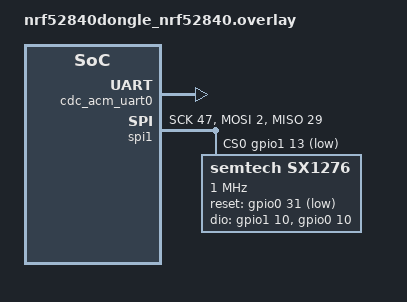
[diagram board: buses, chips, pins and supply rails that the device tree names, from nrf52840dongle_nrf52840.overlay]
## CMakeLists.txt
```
cmake_minimum_required(VERSION 3.8.2)

#Board selection inside zephyr
#set(BOARD nrf52840dk_nrf52840)
#set(BOARD nrf5340pdk_nrf5340_cpunet)
#set(BOARD nrf5340pdk_nrf5340_cpuapp)
set(BOARD nrf52840dongle_nrf52840)
#set(BOARD nrf52840dk_nrf52811)
#Board selection outside zephyr
#set(BOARD_ROOT ./board)

#Toolchain selection
#set(TOOLCHAIN C:/gnuarmemb)

#Zephyr selection
#set(ZEPHYR_BASE L:/Github/ncs/zephyr)
#set(ZEPHYR_BASE C:/Users/raffa/Github/ncs-workspace-1.6.1/zephyr)

find_package(Zephyr REQUIRED HINTS $ENV{ZEPHYR_BASE})

project(NONE)

target_sources(app PRIVATE src/main.c)
```

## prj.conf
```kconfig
#Stdout config
CONFIG_SERIAL=y
CONFIG_STDOUT_CONSOLE=y

#USB CDC ACM
CONFIG_SERIAL=y
CONFIG_CONSOLE=y
CONFIG_UART_CONSOLE=y
CONFIG_STDOUT_CONSOLE=y
CONFIG_USB_DEVICE_STACK=y
CONFIG_USB_DEVICE_PRODUCT="LoRa BT-Mesh Gateway"

#Lora
CONFIG_LOG=y
CONFIG_SPI=y
CONFIG_GPIO=y
CONFIG_LORA=y
CONFIG_LORA_SX12XX=y
CONFIG_PRINTK=y

#For nRF52 Dongle if flashed over USB
#CONFIG_BOARD_HAS_NRF5_BOOTLOADER=y
#For nRF52 Dongle if flashed over SWD
#CONFIG_BOARD_HAS_NRF5_BOOTLOADER=n

#For Reset
CONFIG_REBOOT=y

#FOR GPIO
CONFIG_GPIO=y

# Bluetooth Mesh

# General configuration
CONFIG_MAIN_STACK_SIZE=4096
CONFIG_SYSTEM_WORKQUEUE_STACK_SIZE=4096
CONFIG_FLASH=y
CONFIG_FLASH_MAP=y
CONFIG_NVS=y
CONFIG_SETTINGS=y
CONFIG_HWINFO=y

# Bluetooth configuration
CONFIG_BT=y
CONFIG_BT_COMPANY_ID=0x0059
CONFIG_BT_DEVICE_NAME="LoRa BT-Mesh Gateway"
CONFIG_BT_L2CAP_TX_BUF_COUNT=32
CONFIG_BT_OBSERVER=y
CONFIG_BT_PERIPHERAL=y
CONFIG_BT_SETTINGS=y

# Disable unused Bluetooth features
CONFIG_BT_CTLR_DUP_FILTER_LEN=0
CONFIG_BT_CTLR_LE_ENC=n
CONFIG_BT_DATA_LEN_UPDATE=n
CONFIG_BT_PHY_UPDATE=n
CONFIG_BT_CTLR_CHAN_SEL_2=n
CONFIG_BT_CTLR_MIN_USED_CHAN=n
CONFIG_BT_CTLR_PRIVACY=n

# Bluetooth mesh configuration
CONFIG_BT_MESH=y
CONFIG_BT_MESH_RELAY=y
CONFIG_BT_MESH_FRIEND=y
CONFIG_BT_MESH_BEACON_ENABLED=y
CONFIG_BT_MESH_LOW_POWER=n
#CONFIG_BT_DEBUG_LOG=y
#CONFIG_BT_MESH_DEBUG=y
#CONFIG_BT_MESH_DEBUG_LOW_POWER=y
CONFIG_BT_MESH_LPN_AUTO=n
CONFIG_BT_MESH_LPN_AUTO_TIMEOUT=5
#600 = 60s
CONFIG_BT_MESH_LPN_POLL_TIMEOUT=3600
CONFIG_BT_MESH_GATT_PROXY=y
CONFIG_BT_MESH_ADV_BUF_COUNT=64
CONFIG_BT_MESH_TX_SEG_MAX=32
CONFIG_BT_MESH_PB_GATT=y

# More Proxy Clients
CONFIG_BT_MAX_CONN=3

# Bluetooth Mesh models
CONFIG_BT_MESH_SENSOR_SRV=y
```

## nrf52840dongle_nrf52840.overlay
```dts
#include <dt-bindings/gpio/gpio.h>

/ {
	chosen {
		zephyr,console = &cdc_acm_uart0;
	};
};

&usbd {
	cdc_acm_uart0: cdc_acm_uart0 {
		compatible = "zephyr,cdc-acm-uart";
		label = "CDC_ACM_0";
	};
};


&spi1 {
   status = "okay";
        sck-pin = <47>; /* 1.15 */
     mosi-pin = <2>;
     miso-pin = <29>;
     cs-gpios = <&gpio1 13 GPIO_ACTIVE_LOW>; /* 1.13 */

      lora: sx1276@0 {
       compatible = "semtech,sx1276";
       reg = <0>;
       label = "sx1276";
       reset-gpios = <&gpio0 31 GPIO_ACTIVE_LOW>;
       dio-gpios = <&gpio1 10 (GPIO_PULL_DOWN | GPIO_ACTIVE_HIGH)>,<&gpio0 10 (GPIO_PULL_DOWN | GPIO_ACTIVE_HIGH)>;
       spi-max-frequency = <1000000>;
       power-amplifier-output = "pa-boost";
   };

};

/ {
   aliases {
      lora0 = &lora;
 };
};
```

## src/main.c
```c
/* ---------- Reset Button ------------------- */
#include <zephyr.h>
#include <device.h>
#include <drivers/gpio.h>
#include <sys/reboot.h>

static const struct gpio_dt_spec button = GPIO_DT_SPEC_GET_OR(DT_ALIAS(sw0), gpios, {0});
static struct gpio_callback button_cb_data;
static struct k_work_delayable buttons_debounce;

static void reset()
{
  printk("Reboot now!\n");
  sys_reboot(SYS_REBOOT_COLD);
}

static void buttons_debounce_fn(struct k_work *work)
{
  if (gpio_pin_get_dt(&button) == true)
  {
    reset();
  }
}

void button_pressed(const struct device *dev, struct gpio_callback *cb,
                    uint32_t pins)
{
  printk("Button pressed at %" PRIu32 "\n", k_cycle_get_32());
  k_work_reschedule(&buttons_debounce, K_MSEC(5 * 1000)); // Debounce the Button
}

void init_reset_button(){
  //Init Reset Button
  gpio_pin_configure_dt(&button, GPIO_INPUT);
  gpio_pin_interrupt_configure_dt(&button, GPIO_INT_EDGE_TO_ACTIVE);
  gpio_init_callback(&button_cb_data, button_pressed, BIT(button.pin));
  gpio_add_callback(button.port, &button_cb_data);
  k_work_init_delayable(&buttons_debounce, buttons_debounce_fn);
}


/* ---------------------- Base128 Unsigned Compression ------------------------ */

#include <zephyr.h>
#include <sys/printk.h>
#include <stdio.h>
#include <string.h>

/**
 * Write unsigned LEB128 data
 * @dst: the address where the ULEB128 data is to be stored
 * @val: value to be stored
 *
 * Encode an unsigned LEB128 encoded datum. The algorithm is taken
 * from Appendix C of the DWARF 3 spec. For information on the
 * encodings refer to section "7.6 - Variable Length Data". Return
 * the number of bytes written.
 */
size_t szl_encode_uleb128(uint64_t val, uint8_t * dst){
	static uint8_t count;
	static uint8_t byte;
  count = 0;
	do {
		byte = val & 0x7f;
		val >>= 7;

		if (val != 0)
		byte |= 0x80;  // mark this byte to show that more bytes will follow

		memcpy(dst+count,&byte,1);

		count++;
  	} while (val != 0);
	return count;
}

/**
 * Read unsigned LEB128 data
 * @addr: the address where the ULEB128 data is stored
 * @ret: address to store the result
 *
 * Decode an unsigned LEB128 encoded datum. The algorithm is taken
 * from Appendix C of the DWARF 3 spec. For information on the
 * encodings refer to section "7.6 - Variable Length Data". Return
 * the number of bytes read.
 */
size_t szl_decode_uleb128(uint8_t* addr, uint64_t* ret) {
  static uint8_t byte;
  static uint64_t result;
  static int shift;
  static size_t count;

  shift = 0;
  count = 0;
  result = 0;

  while (1) {
    byte = addr[count];
    count++;

    result |= (byte & 0x7f) << shift;
    shift += 7;

    if (!(byte & 0x80)) break;
  }

  memcpy(ret,&result,count);

  return count;
}

/* ---------------------- Sponge Data Protocol ------------------------ */

#include <zephyr.h>

//Data structure
struct Smart_Meter_data_t {
    uint16_t Strom_L1;
    uint16_t Strom_L2;
    uint16_t Strom_L3;
    uint32_t Wirkleistungsbezug;
    uint32_t Wirkenergiebezug_Tarif_1;
    uint32_t Wirkenergiebezug_Tarif_2;
};

//Number of struct elements for new_data_bitmask = n_data / 8 -> round up to byte
uint8_t new_data_bitmask[1];  

//Data
const struct Smart_Meter_data_t Smart_Meter_data_init;
struct Smart_Meter_data_t Smart_Meter_data;

/**
 * Encode the buffer with sponge
 * @buffer: buffer to encode into
 * @ret: size of encoded bytes
 */
int sponge_encode(uint8_t *buffer) {
    //Encode Message 
    int pos = 0;
    //printk("Bitmask: %u\n",new_data_bitmask[0]); 
    pos += szl_encode_uleb128(new_data_bitmask[0],&buffer[pos]);
    if (new_data_bitmask[0] & (1 << 0))
    {
      pos += szl_encode_uleb128(Smart_Meter_data.Strom_L1,&buffer[pos]);
    }
    if (new_data_bitmask[0] & (1 << 1))
    {
      pos += szl_encode_uleb128(Smart_Meter_data.Strom_L2,&buffer[pos]);
    }
    if (new_data_bitmask[0] & (1 << 2))
    {
      pos += szl_encode_uleb128(Smart_Meter_data.Strom_L3,&buffer[pos]);
    }
    if (new_data_bitmask[0] & (1 << 3))
    {
      pos += szl_encode_uleb128(Smart_Meter_data.Wirkleistungsbezug,&buffer[pos]);
    }
    if (new_data_bitmask[0] & (1 << 4))
    {
      pos += szl_encode_uleb128(Smart_Meter_data.Wirkenergiebezug_Tarif_1,&buffer[pos]);
    }
    if (new_data_bitmask[0] & (1 << 5))
    {
      pos += szl_encode_uleb128(Smart_Meter_data.Wirkenergiebezug_Tarif_2,&buffer[pos]);
    } 
    printk("Message Encoded Size: %u\n",pos);   
    return pos;
}

/**
 * Decode the buffer with sponge
 * @buffer: buffer to decode from
 * @ret: size of decoded bytes
 */
int sponge_decode(uint8_t *buffer) { 
    //Smart_Meter_data = Smart_Meter_data_init;   
    static int pos;
    pos = 0;
    pos += szl_decode_uleb128(&buffer[pos],&new_data_bitmask[0]);
    //printk("Bitmask: %u\n",new_data_bitmask[0]);
    if (new_data_bitmask[0] & (1 << 0))
    {
      pos += szl_decode_uleb128(&buffer[pos],&Smart_Meter_data.Strom_L1);
    }
    if (new_data_bitmask[0] & (1 << 1))
    {
      pos += szl_decode_uleb128(&buffer[pos],&Smart_Meter_data.Strom_L2);
    }
    if (new_data_bitmask[0] & (1 << 2))
    {
      pos += szl_decode_uleb128(&buffer[pos],&Smart_Meter_data.Strom_L3);
    }
    if (new_data_bitmask[0] & (1 << 3))
    {
      pos += szl_decode_uleb128(&buffer[pos],&Smart_Meter_data.Wirkleistungsbezug);
    }
    if (new_data_bitmask[0] & (1 << 4))
    {
      pos += szl_decode_uleb128(&buffer[pos],&Smart_Meter_data.Wirkenergiebezug_Tarif_1);
    }
    if (new_data_bitmask[0] & (1 << 5))
    {
      pos += szl_decode_uleb128(&buffer[pos],&Smart_Meter_data.Wirkenergiebezug_Tarif_2);
    } 
    //printk("Message Decoded Size: %u\n",pos); 
    //printk("Current L3: %u\n",Smart_Meter_data.Strom_L3);  
    return pos;
}

/* ---------------------- LoRa ------------------------ */
/* Requires the following overlay: */
/*
&spi1 {
   status = "okay";
        sck-pin = <47>; 
     mosi-pin = <2>;
     miso-pin = <29>;
     cs-gpios = <&gpio1 13 GPIO_ACTIVE_LOW>; 

      lora: sx1276@0 {
       compatible = "semtech,sx1276";
       reg = <0>;
       label = "sx1276";
       reset-gpios = <&gpio0 31 GPIO_ACTIVE_LOW>;
       dio-gpios = <&gpio1 10 (GPIO_PULL_DOWN | GPIO_ACTIVE_HIGH)>,<&gpio0 10 (GPIO_PULL_DOWN | GPIO_ACTIVE_HIGH)>;
       spi-max-frequency = <1000000>;
       power-amplifier-output = "pa-boost";
   };
};
/ {
   aliases {
      lora0 = &lora;
 };
};
*/
/* Requires the following Konfig: */
/*
CONFIG_LOG=y
CONFIG_SPI=y
CONFIG_GPIO=y
CONFIG_LORA=y
CONFIG_LORA_SX12XX=y
CONFIG_PRINTK=y
*/
#include <device.h>
#include <drivers/lora.h>
#include <errno.h>
#include <sys/util.h>
#include <zephyr.h>
#include <sys/crc.h>
#include <logging/log.h>

#include <stdio.h>
#include <stdlib.h>
#include <string.h>

#define DEFAULT_RADIO_NODE DT_ALIAS(lora0)
BUILD_ASSERT(DT_NODE_HAS_STATUS(DEFAULT_RADIO_NODE, okay),
             "No default LoRa radio specified in DT");
#define DEFAULT_RADIO DT_LABEL(DEFAULT_RADIO_NODE)

#define MAX_DATA_LEN 255

const struct device *lora_dev;
struct lora_modem_config config;
static int ret, len;
uint8_t data_crc[MAX_DATA_LEN] = {0};
uint16_t crc, crc_calc;
int16_t rssi;
int8_t snr;

void szl_lora_init()
{

    lora_dev = device_get_binding(DEFAULT_RADIO);
    if (!lora_dev)
    {
        printk("%s Device not found\n", DEFAULT_RADIO);
        return;
    }

    config.frequency = 865100000;
    config.bandwidth = BW_125_KHZ;
    config.datarate = SF_10;
    config.preamble_len = 8;
    config.coding_rate = CR_4_5;
    config.tx_power = 4;
    config.tx = true;

    ret = lora_config(lora_dev, &config);
    if (ret < 0)
    {
        printk("LoRa config failed\n");
        return;
    }
}

void szl_lora_send(uint8_t *data, uint32_t data_len)
{
    if (lora_dev == NULL)
    {
        printk("Could not get LoRa device\n");
        return;
    }

    //Prepare Device for Sending
    config.tx_power = 4;
    config.tx = true;

    ret = lora_config(lora_dev, &config);
    if (ret < 0)
    {
        printk("LoRa config failed\n");
        return;
    }

    // Calc CRC
    crc = crc16_ccitt(0, data, (size_t)data_len);
    // Append CRC    
    memcpy(data_crc, data, (size_t)data_len);                   // copy data
    memcpy(data_crc + (size_t)data_len, &crc, sizeof(crc));      // copy crc

    ret = lora_send(lora_dev, data_crc, (size_t)data_len + sizeof(crc));
    if (ret < 0)
    {
        printk("LoRa send failed\n");
        return;
    }

    printk("Data sent!\n");
}

uint32_t szl_lora_recv(uint8_t *data)
{
    if (lora_dev == NULL)
    {
        printk("Could not get LoRa device\n");
        return 0;
    }

    //Prepare Device for Receiving
    config.tx_power = 14;
    config.tx = false;

    ret = lora_config(lora_dev, &config);
    if (ret < 0)
    {
        printk("LoRa config failed\n");
        return 0;
    }
    /* Block until data arrives */
    len = lora_recv(lora_dev, data_crc, MAX_DATA_LEN, K_FOREVER,
                    &rssi, &snr);   
    if (len <= 0)
    {
        printk("LoRa receive failed\n");
        return 0;
    }
    /* Decode CRC */
    memcpy(&crc, data_crc + (size_t) len - sizeof(crc), sizeof(crc));      // copy crc
    crc_calc = crc16_ccitt(0,data_crc,(size_t) len - sizeof(crc)); // Calculate CRC
    //printk("Received CRC: %u\n",crc);
    //printk("Calculated CRC: %u\n",crc_calc);
    if (crc == 0 && crc_calc == 0)
    {
        printk("Zero Data Received\n");
        return 0;
    }
    if (crc != crc_calc)
    {
        printk("LoRa receive CRC Check failed\n");
        return 0;
    } 
    memcpy(data, data_crc, (size_t) len - sizeof(crc));      // copy data    

    printk("Received data: %s (RSSI:%ddBm, SNR:%ddBm)\n",
           log_strdup(data), rssi, snr);
    return len;
}

/* -------------------- USB CDC ACM -------------------------- */
/* Requires the following overlay: */
/*
 / {
	chosen {
		zephyr,console = &cdc_acm_uart0;
	};
};

&usb0 {
	cdc_acm_uart0: cdc_acm_uart0 {
		compatible = "zephyr,cdc-acm-uart";
		label = "CDC_ACM_0";
	};
}
*/
/* Requires the following Konfig: */
/*
CONFIG_SERIAL=y
CONFIG_CONSOLE=y
CONFIG_UART_CONSOLE=y
CONFIG_STDOUT_CONSOLE=y
CONFIG_USB_DEVICE_STACK=y
CONFIG_USB_DEVICE_PRODUCT="Gateway"
*/
#include <zephyr.h>
#include <usb/usb_device.h>
/* Enables Console Output over USB CDC ACM */
void szl_init_usb_cdc_acm(){
	usb_enable(NULL);
	return;
}

/* ---------------------------- Bluetooth Mesh ------------------------------- */

#include <drivers/hwinfo.h>

#include <bluetooth/bluetooth.h>
#include <bluetooth/mesh.h>
#include <bluetooth/mesh/models.h>
#include <bluetooth/mesh/model_types.h>


/* Provisioning */
static int output_number(bt_mesh_output_action_t action, uint32_t number)
{
  printk("OOB Number: %u\n", number);
  return 0;
}

static void prov_complete(uint16_t net_idx, uint16_t addr)
{
  printk("Prov complete! Addr: 0x%04x\n", addr);
}

static void prov_reset(void)
{
  printk("Prov reset!\n");
  bt_mesh_prov_enable(BT_MESH_PROV_ADV | BT_MESH_PROV_GATT);
}

static uint8_t dev_uuid[16];

static const struct bt_mesh_prov prov = {
    .uuid = dev_uuid,
    .output_size = 4,
    .output_actions = BT_MESH_DISPLAY_NUMBER,
    .output_number = output_number,
    .complete = prov_complete,
    .reset = prov_reset,
};

/* Sensor Definition definition */

static int rc;

static int get_sensor_data(struct bt_mesh_sensor *sensor,
					struct bt_mesh_msg_ctx *ctx, struct sensor_value *rsp);

static struct bt_mesh_sensor current_L1 = {
	.type = &bt_mesh_sensor_present_input_current,
	.get = get_sensor_data,
};

static struct bt_mesh_sensor current_L2 = {
	.type = &bt_mesh_sensor_present_input_current,
	.get = get_sensor_data,
};

static struct bt_mesh_sensor current_L3 = {
	.type = &bt_mesh_sensor_present_input_current,
	.get = get_sensor_data,
};

static struct bt_mesh_sensor power = {
	.type = &bt_mesh_sensor_present_dev_input_power,
	.get = get_sensor_data,
};

static struct bt_mesh_sensor Energie_Tarif_1 = {
	.type = &bt_mesh_sensor_tot_dev_energy_use,
	.get = get_sensor_data,
};

static struct bt_mesh_sensor Energie_Tarif_2 = {
	.type = &bt_mesh_sensor_tot_dev_energy_use,
	.get = get_sensor_data,
};

static int get_sensor_data(struct bt_mesh_sensor *sensor,
					struct bt_mesh_msg_ctx *ctx, struct sensor_value *rsp)
{
  if (sensor == &current_L1)
  {
    rsp->val1 = (int)(Smart_Meter_data.Strom_L1/1000);
    rsp->val2 = (int)((Smart_Meter_data.Strom_L1 - (rsp->val1*1000))*1000);
    printk("val_1: %d\n",rsp->val1);
    printk("val_2: %d\n",rsp->val2);
  } else if (sensor == &current_L2)
  {
    rsp->val1 = (int)(Smart_Meter_data.Strom_L2/1000);
    rsp->val2 = (int)((Smart_Meter_data.Strom_L2 - (rsp->val1*1000))*1000);
  } else if (sensor == &current_L3)
  {
    rsp->val1 = (int)(Smart_Meter_data.Strom_L3/1000);
    rsp->val2 = (int)((Smart_Meter_data.Strom_L3 - (rsp->val1*1000))*1000);
  } else if (sensor == &power)
  {
    rsp->val1 = (int)(Smart_Meter_data.Wirkleistungsbezug);
    rsp->val2 = 0;
    printk("val_1: %d\n",rsp->val1);
    printk("val_2: %d\n",rsp->val2);
  } else if (sensor == &Energie_Tarif_1)
  {
    rsp->val1 = (int)(Smart_Meter_data.Wirkenergiebezug_Tarif_1/1000);
    rsp->val2 = (int)((Smart_Meter_data.Wirkenergiebezug_Tarif_1 - (rsp->val1*1000))*1000);
    printk("val_1: %d\n",rsp->val1);
    printk("val_2: %d\n",rsp->val2);
  } else if (sensor == &Energie_Tarif_2)
  {
    rsp->val1 = (int)(Smart_Meter_data.Wirkenergiebezug_Tarif_2/1000);
    rsp->val2 = (int)((Smart_Meter_data.Wirkenergiebezug_Tarif_2 - (rsp->val1*1000))*1000);
  }  
  rc = 0;
	return rc;
}

static struct bt_mesh_sensor *const sensors[] = {
	&current_L1,&power,&Energie_Tarif_1};
  static struct bt_mesh_sensor *const sensors_1[] = {
	&current_L2,&Energie_Tarif_2};
  static struct bt_mesh_sensor *const sensors_2[] = {
	&current_L3};

static struct bt_mesh_sensor_srv sensor_srv = BT_MESH_SENSOR_SRV_INIT(sensors, ARRAY_SIZE(sensors));
static struct bt_mesh_sensor_srv sensor_srv_1 = BT_MESH_SENSOR_SRV_INIT(sensors_1, ARRAY_SIZE(sensors_1));
static struct bt_mesh_sensor_srv sensor_srv_2 = BT_MESH_SENSOR_SRV_INIT(sensors_2, ARRAY_SIZE(sensors_2));


/* Health Server definition */

static void attention_on(struct bt_mesh_model *model)
{
  printk("attention_on!\n");
}
static void attention_off(struct bt_mesh_model *model)
{
  printk("attention_off!\n");
}
static const struct bt_mesh_health_srv_cb health_srv_cb = {
    .attn_on = attention_on,
    .attn_off = attention_off,
};
static struct bt_mesh_health_srv health_srv = {
    .cb = &health_srv_cb,
};
BT_MESH_HEALTH_PUB_DEFINE(health_pub, 0);

/* Define all Elements */
static struct bt_mesh_elem elements[] = {
    BT_MESH_ELEM(1, BT_MESH_MODEL_LIST(BT_MESH_MODEL_CFG_SRV, BT_MESH_MODEL_HEALTH_SRV(&health_srv, &health_pub), BT_MESH_MODEL_SENSOR_SRV(&sensor_srv)),BT_MESH_MODEL_NONE),
    BT_MESH_ELEM(1, BT_MESH_MODEL_LIST(BT_MESH_MODEL_SENSOR_SRV(&sensor_srv_1)),BT_MESH_MODEL_NONE),
    BT_MESH_ELEM(1, BT_MESH_MODEL_LIST(BT_MESH_MODEL_SENSOR_SRV(&sensor_srv_2)),BT_MESH_MODEL_NONE),
};

/* Create Composition */
static const struct bt_mesh_comp comp = {
    .cid = CONFIG_BT_COMPANY_ID,
    .elem = elements,
    .elem_count = ARRAY_SIZE(elements),
};

/* Bluetooth */
static void bt_ready(int err)
{
  if (err)
  {
    printk("Bluetooth init failed (err %d)\n", err);
    return;
  }

  printk("Bluetooth initialized\n");

  err = bt_mesh_init(&prov, &comp);
  if (err)
  {
    printk("Initializing mesh failed (err %d)\n", err);
    return;
  }

  if (IS_ENABLED(CONFIG_SETTINGS))
  {
    settings_load();
  }

  /* --------------- Reset Mesh ------------*/
	if(gpio_pin_get_dt(&button)){
		printk("Reset Mesh!\n");
		bt_mesh_reset();
	}

  /* This will be a no-op if settings_load() loaded provisioning info */
  bt_mesh_prov_enable(BT_MESH_PROV_ADV | BT_MESH_PROV_GATT);

  printk("Mesh initialized\n");
}

//Init Bluetooth Mesh
static void bluetooth_mesh_init()
{
  static int err;
  if (IS_ENABLED(CONFIG_HWINFO)) {
		err = hwinfo_get_device_id(dev_uuid, sizeof(dev_uuid));
	}
	if (err < 0) {
		dev_uuid[0] = 0xdd;
		dev_uuid[1] = 0xdd;
	}
  //Init Bluetooth
	bt_enable(bt_ready);
}


/* ------------------- Main App ---------------------------- */

void main(void)
{
  //Init Reset Button
  init_reset_button();
  //Init USB CDC ACM
  szl_init_usb_cdc_acm();
  k_msleep(1000); //Sleep for syncing buffers
  // Start Application
  printk("Starting Application...\n");
  //Init LoRa
  szl_lora_init();
  bluetooth_mesh_init();
  while (1)
  {
    static uint8_t buffer[255];
    static uint8_t buf_size;
    // Wait for the Receive LoRa
    buf_size = szl_lora_recv(buffer);
    if (buf_size == 0){
      printk("No Valid Data Received\n");
      continue;
    }
    //Decode Message 
    sponge_decode(buffer); 
    //printk("Message Decoded Size: %u\n",pos); 
    printk("Wirkenergiebezug_Tarif_1: %u\n",Smart_Meter_data.Wirkenergiebezug_Tarif_1); 
    printk("Wirkenergiebezug_Tarif_2: %u\n",Smart_Meter_data.Wirkenergiebezug_Tarif_2); 
    printk("Wirkleistungsbezug      : %u\n",Smart_Meter_data.Wirkleistungsbezug); 
    printk("Strom_L1                : %u\n",Smart_Meter_data.Strom_L1); 
    printk("Strom_L2                : %u\n",Smart_Meter_data.Strom_L2); 
    printk("Strom_L3                : %u\n",Smart_Meter_data.Strom_L3);
  }  
}
```
